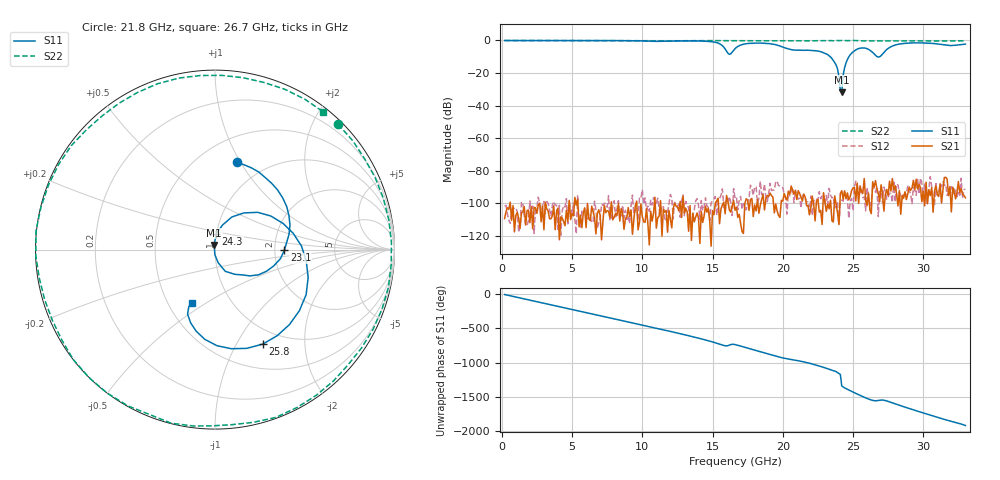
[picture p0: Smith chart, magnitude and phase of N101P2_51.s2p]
# GHZ S RI R 50
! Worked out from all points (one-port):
!   329 points, 200 MHz to 33 GHz, reference 50 ohm
!   lowest |S11| = -31.8 dB at 24.2 GHz (marker M1), VSWR 1.05, Z = 49.5 + j2.49 ohm
!   |S11| at or under -10 dB: 23.38 GHz to 24.7 GHz (1.319 GHz wide, 5.49 % of centre); 26.7534 GHz to 26.88557 GHz (132.2 MHz wide, 0.493 % of centre)
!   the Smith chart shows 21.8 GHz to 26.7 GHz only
!   S11 on the Smith chart (normalised r, x): 21.8 GHz: 0.74, +0.97; 23.1 GHz: 2.26, -0.02; 24.3 GHz: 1.00, +0.17; 25.8 GHz: 0.80, -1.29; 26.7 GHz: 0.66, -0.44
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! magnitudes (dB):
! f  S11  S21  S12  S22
! 200 MHz  0.0  -109.3  -101.8  0.0
! 5.7 GHz  0.0  -114.9  -104.7  0.0
! 11.2 GHz  -0.5  -107.9  -103.6  -0.2
! 15.2 GHz  -1.1  -100.0  -95.8  -0.1
! 16.2 GHz  -8.5  -104.1  -95.8  -0.2
! 16.6 GHz  -5.1  -104.3  -96.4  -0.1
! 18.4 GHz  -1.6  -101.2  -86.4  -0.2
! 21.8 GHz  -6.0  -101.5  -99.0  -0.2
! 22.1 GHz  -6.1  -95.6  -107.3  -0.2
! 23.1 GHz  -8.3  -104.9  -95.2  -0.1
! 23.8 GHz  -15.1  -100.7  -102.0  -0.1
! 24 GHz  -22.4  -113.0  -113.6  -0.1
! 24.1 GHz  -31.0  -94.0  -98.8  0.0
! 24.2 GHz  -31.8  -92.3  -98.0  0.0
! 24.3 GHz  -21.2  -97.5  -98.7  0.0
! 24.5 GHz  -13.8  -97.2  -95.0  -0.1
! 24.8 GHz  -8.8  -95.9  -98.8  -0.1
! 25.8 GHz  -4.6  -84.7  -96.1  -0.2
! 26.7 GHz  -9.8  -90.9  -89.8  -0.2
! 27.6 GHz  -4.3  -86.4  -93.9  -0.3
! 29 GHz  -1.5  -90.0  -91.6  -0.2
! 33 GHz  -2.2  -96.6  -91.4  -0.2
